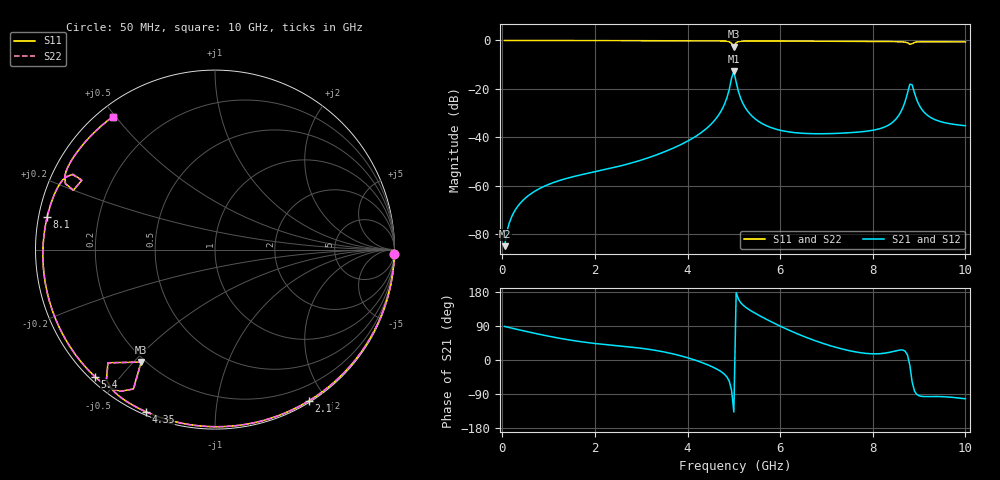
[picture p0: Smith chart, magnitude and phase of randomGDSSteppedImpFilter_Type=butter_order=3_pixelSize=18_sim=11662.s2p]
! freq	dB(S11)	phase(S11)	dB(S12)	phase(S12)
!  dB(S21)	phase(S21)	dB(S22)	phase(S22)
!S-par simulation data
#  GHz  S  DB  R 50
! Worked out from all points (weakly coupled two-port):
!   200 points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, 50 MHz to 10 GHz, reference 50 ohm
!   highest |S21| = -12.81 dB at 5 GHz (marker M1); lowest = -84.9 dB at 50 MHz (marker M2)
!   lowest |S11| = -2.5 dB at 5 GHz (marker M3), VSWR 6.99, Z = 9.18 - j26.3 ohm
!   |S11| at or under -10 dB: nowhere
!   |S22| runs from -2.5 to 0.0 dB; largest |S21 - S12| = 0
!   S11 on the Smith chart (normalised r, x): 50 MHz: 0, -79; 2.1 GHz: 0.02, -1.80; 4.35 GHz: 0.01, -0.66; 5.4 GHz: 0.02, -0.43; 8.1 GHz: 0.02, +0.10; 10 GHz: 0.04, +0.49
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0.05  -0.00 -1.5  -84.90 88.5  -84.90 88.5  -0.00 -1.5
0.25  -0.01 -7.2  -70.94 82.8  -70.94 82.8  -0.01 -7.2
0.55  -0.02 -15.7  -64.24 74.4  -64.24 74.4  -0.02 -15.7
1.75  -0.06 -48.9  -55.23 47.4  -55.23 47.4  -0.06 -48.9
2.1  -0.07 -58.2  -53.77 42.3  -53.77 42.3  -0.07 -58.2
3.4  -0.12 -90.8  -46.71 23.4  -46.71 23.4  -0.12 -90.8
4.35  -0.16 -113.1  -37.24 -8.5  -37.24 -8.5  -0.16 -113.1
4.75  -0.22 -123.4  -28.25 -32.9  -28.25 -32.9  -0.22 -123.4
4.95  -1.23 -133.4  -15.61 -79.0  -15.61 -79.0  -1.23 -133.4
5  -2.50 -123.3  -12.81 -137.1  -12.81 -137.1  -2.50 -123.3
5.05  -0.92 -120.3  -17.12 177.6  -17.12 177.6  -0.92 -120.3
5.2  -0.28 -127.9  -26.15 144.7  -26.15 144.7  -0.28 -127.9
5.4  -0.23 -133.4  -31.35 127.6  -31.35 127.6  -0.23 -133.4
5.95  -0.24 -145.7  -36.83 92.3  -36.83 92.3  -0.24 -145.7
6.7  -0.29 -161.5  -38.48 53.4  -38.48 53.4  -0.29 -161.4
8.1  -0.42 169.0  -36.67 16.3  -36.67 16.3  -0.42 169.1
8.35  -0.46 163.4  -34.83 20.0  -34.83 20.0  -0.46 163.5
8.6  -0.55 157.1  -29.69 26.6  -29.69 26.6  -0.55 157.2
8.8  -1.55 152.4  -18.07 -14.1  -18.07 -14.1  -1.55 152.6
9  -0.56 152.3  -26.64 -94.4  -26.64 -94.4  -0.56 152.4
9.2  -0.52 146.7  -31.16 -96.4  -31.16 -96.4  -0.52 146.8
10  -0.60 127.4  -35.19 -102.4  -35.19 -102.4  -0.60 127.6
